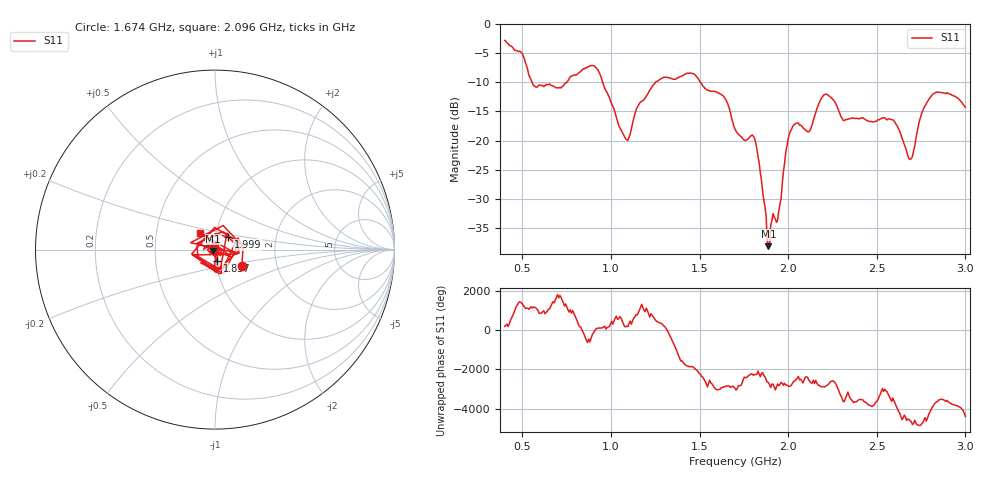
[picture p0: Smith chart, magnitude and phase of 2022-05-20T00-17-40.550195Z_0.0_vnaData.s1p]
!Created with skrf (http://scikit-rf.org).
# Hz S RI R 50.0
!freq ReS11 ImS11
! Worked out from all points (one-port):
!   401 points, 400 MHz to 3 GHz, reference 50 ohm
!   lowest |S11| = -38.1 dB at 1.889 GHz (marker M1), VSWR 1.03, Z = 49.1 - j0.778 ohm
!   |S11| at or under -10 dB: 554.7 MHz to 750.4 MHz (195.7 MHz wide, 30 % of centre); 953 MHz to 1.252 GHz (299.1 MHz wide, 27.1 % of centre); 1.505 GHz to end of sweep
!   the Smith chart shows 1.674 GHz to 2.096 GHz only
!   S11 on the Smith chart (normalised r, x): 1.674 GHz: 1.33, -0.24; 1.837 GHz: 1.02, -0.13; 1.999 GHz: 1.14, +0.16; 2.096 GHz: 0.83, +0.15
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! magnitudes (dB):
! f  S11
! 400 MHz  -2.8
! 497.5 MHz  -5.0
! 569 MHz  -10.6
! 725 MHz  -10.7
! 907 MHz  -7.2
! 1.05 GHz  -17.8
! 1.095 GHz  -20.0
! 1.154 GHz  -14.0
! 1.245 GHz  -10.3
! 1.375 GHz  -9.3
! 1.472 GHz  -8.6
! 1.674 GHz  -15.2
! 1.7 GHz  -18.0
! 1.804 GHz  -19.3
! 1.837 GHz  -23.8
! 1.889 GHz  -38.1
! 1.947 GHz  -32.1
! 1.999 GHz  -19.9
! 2.025 GHz  -17.6
! 2.096 GHz  -18.1
! 2.207 GHz  -12.1
! 2.35 GHz  -16.2
! 2.591 GHz  -16.5
! 2.675 GHz  -22.6
! 2.701 GHz  -22.8
! 2.753 GHz  -15.4
! 2.825 GHz  -11.9
! 3 GHz  -14.3
